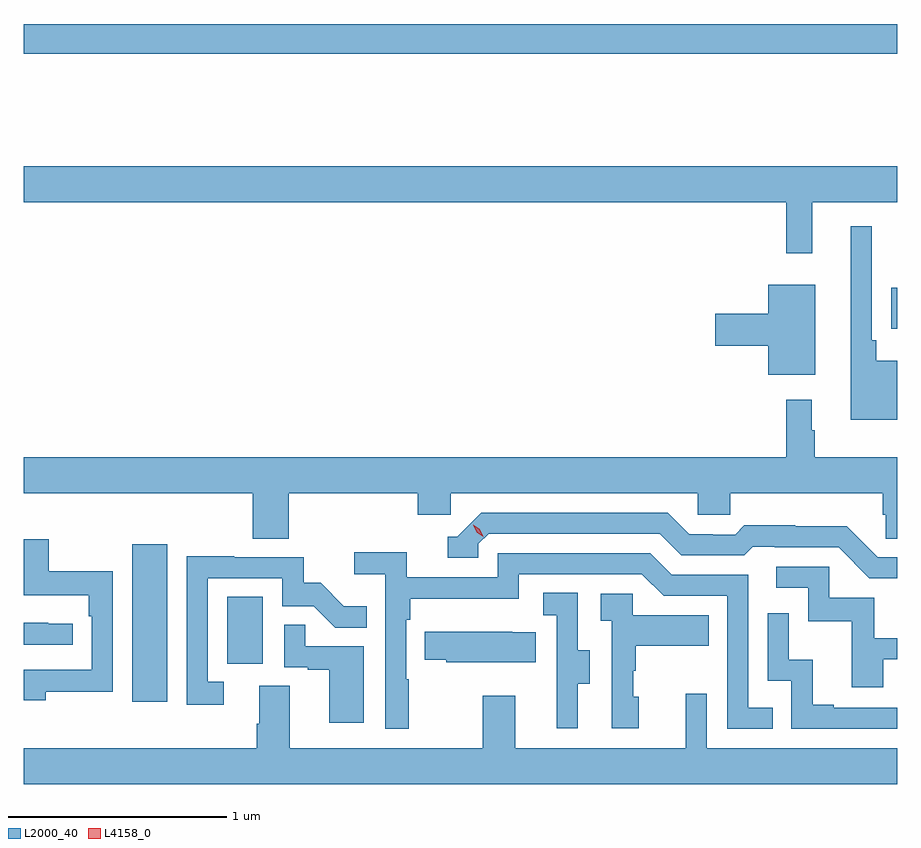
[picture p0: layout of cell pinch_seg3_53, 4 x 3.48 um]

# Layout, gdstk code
import gdstk
lib = gdstk.Library(unit=1e-6, precision=1e-09)
def R(c, l, rs):  # rectangles x0, y0, x1, y1
    for r in rs: c.add(gdstk.rectangle(r[:2], r[2:], *l))
def P(c, l, *ps):  # polygons
    for p in ps: c.add(gdstk.Polygon(p, *l))
L2000_40 = (2000, 40)
L4158_0 = (4158, 0)

pinch_seg3_53 = lib.new_cell('pinch_seg3_53')
R(pinch_seg3_53, L2000_40, [(1052.885,731.928,1053.046,732.649), (1053.32,732.102,1053.484,732.409), (1056.362,733.637,1056.389,733.825), (1052.389,734.896,1056.389,735.032)])
P(pinch_seg3_53, L2000_40, [(1055.999,734.216),(1056.389,734.216),(1056.389,734.38),(1052.389,734.38),(1052.389,734.216),(1055.881,734.216),(1055.881,733.983),(1055.999,733.983)],
  [(1056.389,733.489),(1056.293,733.489),(1056.293,733.585),(1056.273,733.585),(1056.273,734.107),(1056.176,734.107),(1056.176,733.22),(1056.389,733.22)],
  [(1056.013,733.837),(1055.798,733.837),(1055.798,733.706),(1055.556,733.706),(1055.556,733.559),(1055.798,733.559),(1055.798,733.427),(1056.013,733.427)],
  [(1053.602,732.884),(1054.193,732.884),(1054.193,732.786),(1054.344,732.786),(1054.344,732.884),(1055.475,732.884),(1055.475,732.786),(1055.625,732.786),(1055.625,732.884),(1056.323,732.884),(1056.323,732.786),(1056.337,732.786),(1056.337,732.676),(1056.389,732.676),(1056.389,733.048),(1056.01,733.048),(1056.01,733.172),(1055.998,733.172),(1055.998,733.312),(1055.881,733.312),(1055.881,733.048),(1052.389,733.048),(1052.389,732.884),(1053.437,732.884),(1053.437,732.676),(1053.602,732.676)],
  [(1056.389,732.591),(1056.3,732.591),(1056.158,732.733),(1055.922,732.733),(1055.922,732.736),(1055.689,732.736),(1055.647,732.693),(1055.544,732.693),(1055.544,732.696),(1055.437,732.696),(1055.338,732.795),(1054.485,732.795),(1054.374,732.684),(1054.331,732.684),(1054.331,732.588),(1054.47,732.588),(1054.47,732.651),(1054.518,732.699),(1055.301,732.699),(1055.4,732.6),(1055.689,732.6),(1055.728,732.639),(1055.827,732.639),(1055.827,732.636),(1056.12,732.636),(1056.261,732.495),(1056.389,732.495)],
  [(1052.491,731.974),(1052.796,731.974),(1052.796,732.526),(1052.503,732.526),(1052.503,732.672),(1052.389,732.672),(1052.389,732.416),(1052.687,732.416),(1052.687,732.32),(1052.7,732.32),(1052.7,732.075),(1052.389,732.075),(1052.389,731.936),(1052.491,731.936)],
  [(1054.153,732.032),(1054.14,732.032),(1054.14,732.305),(1054.16,732.305),(1054.16,732.401),(1054.656,732.401),(1054.656,732.513),(1055.22,732.513),(1055.319,732.414),(1055.61,732.414),(1055.61,731.805),(1055.819,731.805),(1055.819,731.901),(1055.706,731.901),(1055.706,732.51),(1055.356,732.51),(1055.257,732.609),(1054.56,732.609),(1054.56,732.498),(1054.142,732.498),(1054.142,732.614),(1053.903,732.614),(1053.903,732.512),(1054.044,732.512),(1054.044,731.805),(1054.153,731.805)],
  [(1053.304,732.021),(1053.231,732.021),(1053.231,732.495),(1053.573,732.495),(1053.573,732.366),(1053.717,732.366),(1053.815,732.268),(1053.959,732.268),(1053.959,732.367),(1053.855,732.367),(1053.748,732.474),(1053.672,732.474),(1053.672,732.591),(1053.353,732.591),(1053.353,732.596),(1053.135,732.596),(1053.135,731.916),(1053.304,731.916)],
  [(1056.325,732.123),(1056.389,732.123),(1056.389,732.219),(1056.283,732.219),(1056.283,732.405),(1056.078,732.405),(1056.078,732.546),(1055.835,732.546),(1055.835,732.45),(1055.982,732.45),(1055.982,732.297),(1056.181,732.297),(1056.181,731.994),(1056.325,731.994)],
  [(1054.927,732.01),(1054.981,732.01),(1054.981,732.165),(1054.926,732.165),(1054.926,732.428),(1054.767,732.428),(1054.767,732.325),(1054.83,732.325),(1054.83,732.021),(1054.829,732.021),(1054.829,731.808),(1054.927,731.808)],
  [(1055.206,731.952),(1055.181,731.952),(1055.181,732.071),(1055.191,732.071),(1055.191,732.185),(1055.525,732.185),(1055.525,732.325),(1055.178,732.325),(1055.178,732.423),(1055.031,732.423),(1055.031,732.299),(1055.082,732.299),(1055.082,731.808),(1055.206,731.808)],
  [(1056.389,731.901),(1056.097,731.901),(1056.097,731.914),(1056.002,731.914),(1056.002,732.122),(1055.892,732.122),(1055.892,732.334),(1055.796,732.334),(1055.796,732.024),(1055.904,732.024),(1055.904,731.805),(1056.389,731.805)],
  [(1052.614,732.285),(1052.501,732.285),(1052.501,732.29),(1052.389,732.29),(1052.389,732.189),(1052.614,732.189)],
  [(1053.946,732.183),(1053.677,732.183),(1053.677,732.281),(1053.582,732.281),(1053.582,732.087),(1053.689,732.087),(1053.689,732.075),(1053.788,732.075),(1053.788,731.832),(1053.946,731.832)],
  [(1054.733,732.247),(1054.625,732.247),(1054.625,732.25),(1054.225,732.25),(1054.225,732.121),(1054.323,732.121),(1054.323,732.11),(1054.733,732.11)],
  [(1056.389,731.716),(1055.517,731.716),(1055.517,731.965),(1055.42,731.965),(1055.42,731.716),(1054.639,731.716),(1054.639,731.956),(1054.492,731.956),(1054.492,731.716),(1053.607,731.716),(1053.607,732.002),(1053.467,732.002),(1053.467,731.828),(1053.455,731.828),(1053.455,731.716),(1052.389,731.716),(1052.389,731.552),(1056.389,731.552)])
P(pinch_seg3_53, L4158_0, [(1054.494,732.685),(1054.464,732.705),(1054.448,732.737),(1054.448,732.738),(1054.448,732.738),(1054.478,732.718),(1054.494,732.686),(1054.494,732.685)])

lib.write_gds('pinch_seg3_53.gds')
